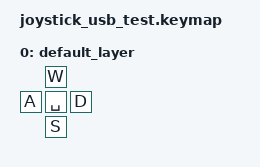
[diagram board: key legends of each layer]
#include <behaviors.dtsi>
#include <dt-bindings/zmk/keys.h>

/ {
    keymap {
        compatible = "zmk,keymap";

        default_layer {
            bindings = <
                &kp W &kp S &kp A &kp D &kp SPACE
            >;
        };
    };
};
